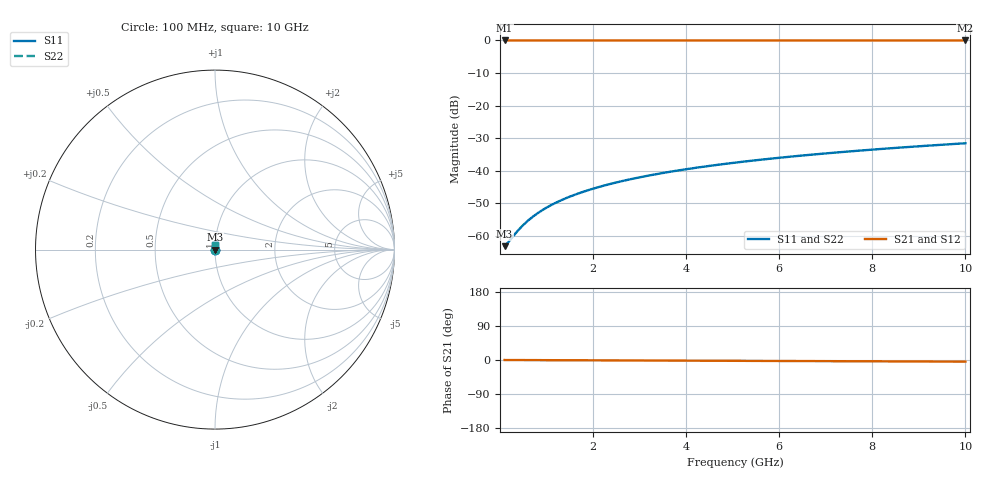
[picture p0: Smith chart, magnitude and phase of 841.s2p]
# Hz S RI R 50.00
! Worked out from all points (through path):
!   100 points, 100 MHz to 10 GHz, reference 50 ohm
!   highest |S21| = -0.01 dB at 100 MHz (marker M1); lowest = 0.0 dB at 10 GHz (marker M2)
!   lowest |S11| = -63.1 dB at 100 MHz (marker M3), VSWR 1.00, Z = 50.1 + j0.0263 ohm
!   |S11| at or under -10 dB: start of sweep to end of sweep
!   |S22| runs from -63.1 to -31.6 dB; largest |S21 - S12| = 0
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1e8  0.000645 0.000263  0.9994 -0.000748  0.9994 -0.000748  0.000645 0.000263
2e8  0.000649 0.000525  0.9993 -0.0015  0.9993 -0.0015  0.000649 0.000525
4e8  0.000657 0.00105  0.9993 -0.00299  0.9993 -0.00299  0.000657 0.00105
5e8  0.000661 0.00131  0.9993 -0.00374  0.9993 -0.00374  0.000661 0.00131
6e8  0.000665 0.00158  0.9993 -0.00449  0.9993 -0.00449  0.000665 0.00158
7e8  0.000669 0.00184  0.9993 -0.00524  0.9993 -0.00524  0.000669 0.00184
8e8  0.000673 0.0021  0.9993 -0.00599  0.9993 -0.00599  0.000673 0.0021
1e9  0.000683 0.00263  0.9993 -0.00748  0.9993 -0.00748  0.000683 0.00263
1.2e9  0.000693 0.00315  0.9993 -0.00898  0.9993 -0.00898  0.000693 0.00315
1.5e9  0.000712 0.00394  0.9993 -0.0112  0.9993 -0.0112  0.000712 0.00394
1.8e9  0.000734 0.00473  0.9992 -0.0135  0.9992 -0.0135  0.000734 0.00473
2.1e9  0.000759 0.00552  0.9992 -0.0157  0.9992 -0.0157  0.000759 0.00552
2.5e9  0.000798 0.00657  0.9991 -0.0187  0.9991 -0.0187  0.000798 0.00657
2.9e9  0.000843 0.00762  0.999 -0.0217  0.999 -0.0217  0.000843 0.00762
3.4e9  0.000908 0.00893  0.9989 -0.0255  0.9989 -0.0255  0.000908 0.00893
4.2e9  0.00103 0.011  0.9987 -0.0315  0.9987 -0.0315  0.00103 0.011
5.1e9  0.0012 0.0134  0.9985 -0.0382  0.9985 -0.0382  0.0012 0.0134
5.9e9  0.00138 0.0155  0.9982 -0.0442  0.9982 -0.0442  0.00138 0.0155
6.7e9  0.00158 0.0176  0.9979 -0.0502  0.9979 -0.0502  0.00158 0.0176
7.5e9  0.00181 0.0197  0.9975 -0.0563  0.9975 -0.0563  0.00181 0.0197
8.4e9  0.0021 0.0221  0.997 -0.063  0.997 -0.063  0.0021 0.0221
1e10  0.00269 0.0263  0.9961 -0.0751  0.9961 -0.0751  0.00269 0.0263
